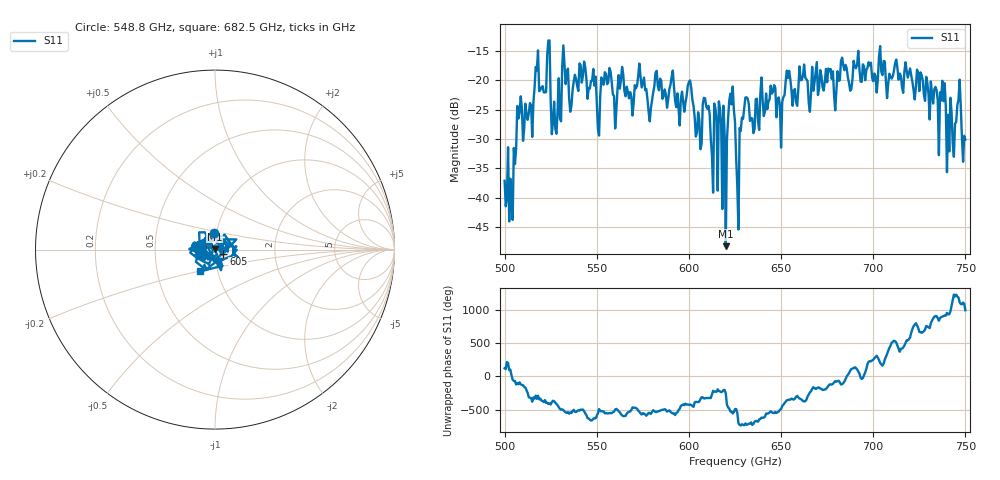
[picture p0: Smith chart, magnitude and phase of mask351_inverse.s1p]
!Created with skrf (http://scikit-rf.org).
# GHz S MA R 50.0
!freq magS11 angS11
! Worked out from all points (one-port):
!   401 points, 500 GHz to 750 GHz, reference 50 ohm
!   lowest |S11| = -48.3 dB at 620 GHz (marker M1), VSWR 1.01, Z = 49.9 + j0.375 ohm
!   |S11| at or under -10 dB: start of sweep to end of sweep
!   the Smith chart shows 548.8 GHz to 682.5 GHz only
!   S11 on the Smith chart (normalised r, x): 548.8 GHz: 0.98, +0.18; 605 GHz: 1.10, -0.06; 682.5 GHz: 0.83, -0.21
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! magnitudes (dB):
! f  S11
! 500 GHz  -37.1
! 503.8 GHz  -40.9
! 508.1 GHz  -25.6
! 513.8 GHz  -23.9
! 517.5 GHz  -18.3
! 523.8 GHz  -13.2
! 526.9 GHz  -23.6
! 531.2 GHz  -17.5
! 548.8 GHz  -20.9
! 562.5 GHz  -21.4
! 593.8 GHz  -22.2
! 600.6 GHz  -20.0
! 605 GHz  -25.4
! 609.4 GHz  -24.5
! 611.9 GHz  -30.0
! 620 GHz  -48.3
! 622.5 GHz  -22.3
! 625 GHz  -27.0
! 626.9 GHz  -45.4
! 631.2 GHz  -22.9
! 656.2 GHz  -24.3
! 682.5 GHz  -16.7
! 687.5 GHz  -21.8
! 718.8 GHz  -19.5
! 737.5 GHz  -20.1
! 742.5 GHz  -25.5
! 746.2 GHz  -23.3
! 750 GHz  -30.1
